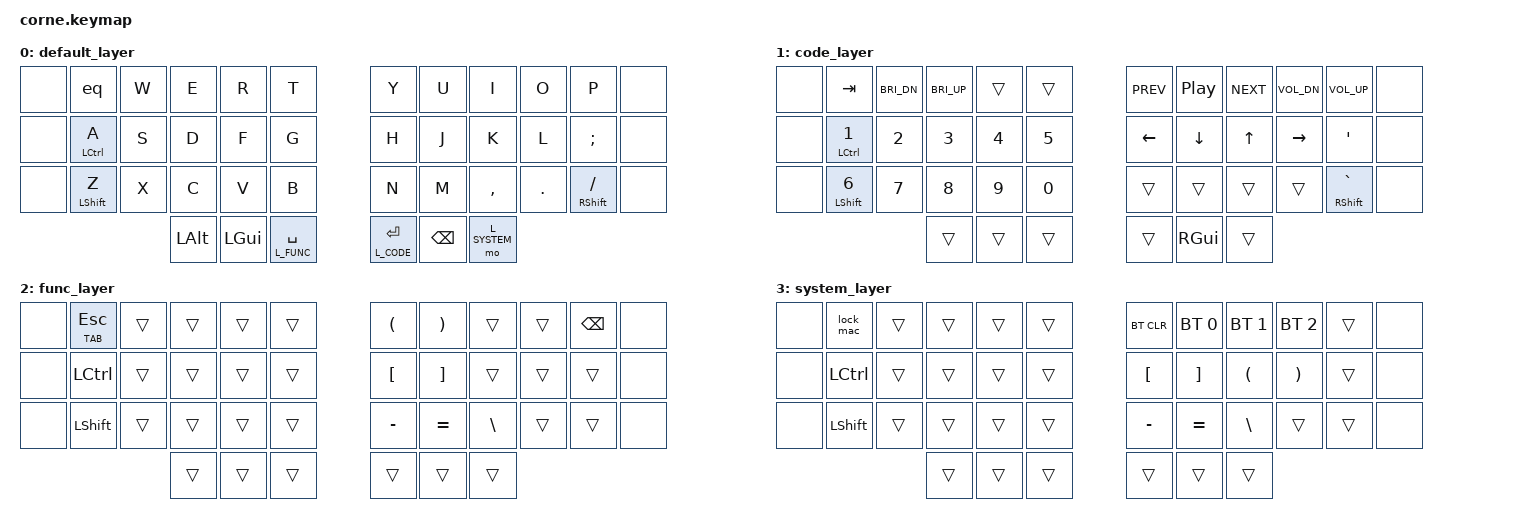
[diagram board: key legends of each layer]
/*
 * Copyright (c) 2020 The ZMK Contributors
 *
 * SPDX-License-Identifier: MIT
 */

#include <behaviors.dtsi>
#include <dt-bindings/zmk/keys.h>
#include <dt-bindings/zmk/bt.h>

#define L_DEFAULT 0
#define L_CODE 1
#define L_FUNC 2
#define L_SYSTEM 3

&lt {
    tapping-term-ms = <160>;
    flavor = "tap-preferred";
};

/ {
        behaviors {
              cm: controls_mods {
                compatible = "zmk,behavior-hold-tap";
                label = "CUSTOM_HOLD";
                #binding-cells = <2>;
                tapping-term-ms = <160>;
                quick-tap-ms = <0>;
                flavor = "tap-preferred";
                bindings = <&kp>, <&kp>;
              };
              eq: esc_or_q {
                compatible = "zmk,behavior-tap-dance";
                label = "ESC_OR_Q";
                #binding-cells = <0>;
                tapping-term-ms = <180>;
                bindings = <&kp Q>, <&kp ESC>;
              };
        };
        macros {
            lock_mac: lock_mac {
                compatible = "zmk,behavior-macro";
                #binding-cells = <0>;
                bindings
                    = <&macro_press &kp LGUI>
                    , <&macro_press &kp LCTRL>
                    , <&macro_tap &kp Q>
                    , <&macro_release &kp LGUI>
                    , <&macro_release &kp LCTRL>
                    ;
            };
        };

        keymap {
                compatible = "zmk,keymap";

                default_layer {
                        bindings = <
   &none &eq          &kp W    &kp E     &kp R     &kp T                   &kp Y            &kp U      &kp I      &kp O      &kp P            &none
   &none &cm LCTRL A  &kp S    &kp D     &kp F     &kp G                   &kp H            &kp J      &kp K      &kp L      &kp SEMI         &none
   &none &cm LSHFT Z  &kp X    &kp C     &kp V     &kp B                   &kp N            &kp M      &kp COMMA  &kp DOT    &cm RSHIFT FSLH  &none
                               &kp LALT  &kp LGUI  &lt L_FUNC SPACE        &lt L_CODE ENTER &kp BSPC   &mo L_SYSTEM
                        >;
                };
                code_layer {
                        bindings = <
   &none    &kp TAB        &kp C_BRI_DN  &kp C_BRI_UP  &trans   &trans            &kp C_PREV   &kp C_PLAY_PAUSE  &kp C_NEXT  &kp C_VOL_DN  &kp C_VOL_UP  &none
   &none    &cm LCTRL N1   &kp N2        &kp N3        &kp N4   &kp N5            &kp LEFT     &kp DOWN          &kp UP      &kp RIGHT     &kp SQT       &none
   &none    &cm LSHIFT N6  &kp N7        &kp N8        &kp N9   &kp N0            &trans       &trans            &trans      &trans        &cm RSHIFT GRAVE     &none
                                         &trans        &trans   &trans            &trans       &kp RGUI          &trans
                        >;
                };

                func_layer {
                        bindings = <
   &none &lt TAB ESC    &trans  &trans   &trans  &trans       &kp LPAR    &kp RPAR      &trans     &trans      &kp BSPC  &none
   &none &kp LCTRL      &trans  &trans   &trans  &trans       &kp LBKT    &kp RBKT      &trans     &trans      &trans    &none
   &none &kp LSHFT      &trans  &trans   &trans  &trans       &kp MINUS   &kp EQUAL     &kp BSLH   &trans      &trans    &none
                                &trans   &trans  &trans       &trans      &trans        &trans
                        >;
                };

                system_layer {
                        bindings = <
   &none &lock_mac    &trans  &trans   &trans  &trans       &bt BT_CLR  &bt BT_SEL 0  &bt BT_SEL 1  &bt BT_SEL 2  &trans  &none
   &none &kp LCTRL      &trans  &trans   &trans  &trans       &kp LBKT    &kp RBKT      &kp LPAR      &kp RPAR        &trans  &none
   &none &kp LSHFT      &trans  &trans   &trans  &trans       &kp MINUS   &kp EQUAL     &kp BSLH      &trans        &trans  &none
                                &trans   &trans  &trans       &trans      &trans        &trans
                        >;
                };
        };
};
